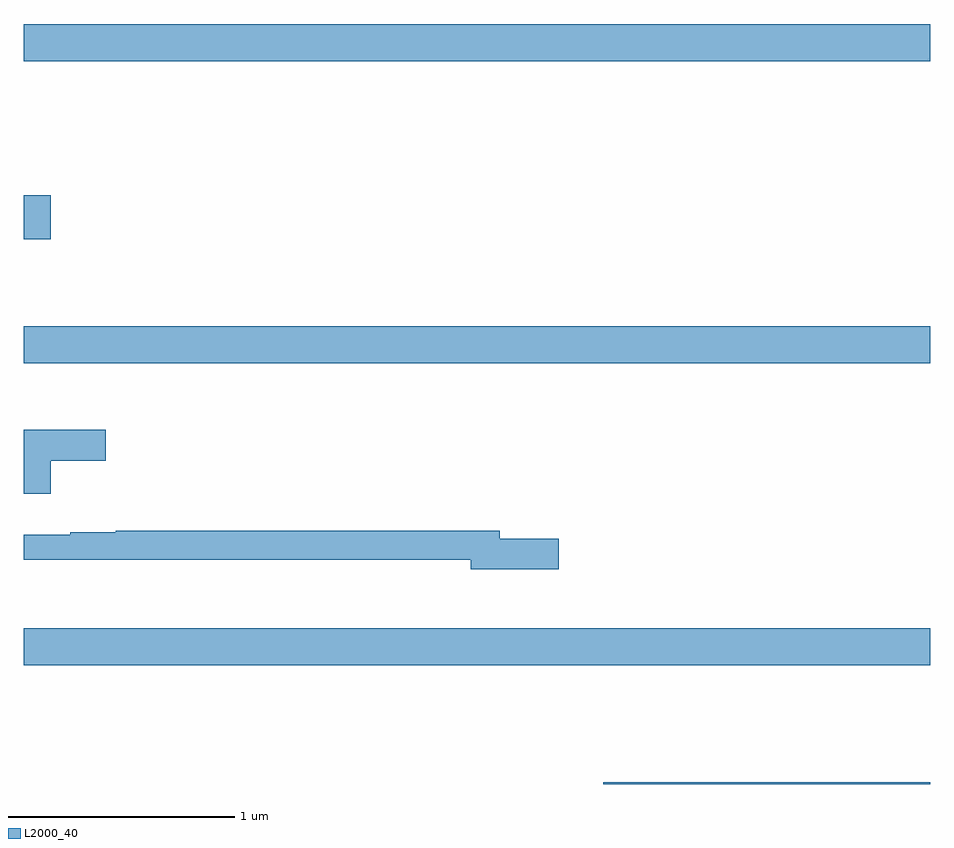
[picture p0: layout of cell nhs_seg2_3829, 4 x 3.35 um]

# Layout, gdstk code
import gdstk
lib = gdstk.Library(unit=1e-6, precision=1e-09)
def R(c, l, rs):  # rectangles x0, y0, x1, y1
    for r in rs: c.add(gdstk.rectangle(r[:2], r[2:], *l))
def A(c, l, x, y, w, h, nx, ny, dx, dy):  # array of equal rectangles
    R(c, l, [(x+i*dx, y+j*dy, x+i*dx+w, y+j*dy+h) for i in range(nx) for j in range(ny)])
def P(c, l, *ps):  # polygons
    for p in ps: c.add(gdstk.Polygon(p, *l))
L2000_40 = (2000, 40)

nhs_seg2_3829 = lib.new_cell('nhs_seg2_3829')
A(nhs_seg2_3829, L2000_40, 313, 626.324, 4, 0.164, 1, 3, 0, 1.332)
R(nhs_seg2_3829, L2000_40, [(315.557,625.8,317,625.808), (313,628.202,313.12,628.396)])
P(nhs_seg2_3829, L2000_40, [(313.12,627.226),(313.363,627.226),(313.363,627.363),(313,627.363),(313,627.08),(313.12,627.08)],
  [(315.361,626.882),(315.1,626.882),(315.1,626.918),(313.406,626.918),(313.406,626.911),(313.206,626.911),(313.206,626.9),(313,626.9),(313,626.79),(314.972,626.79),(314.972,626.747),(315.361,626.747)])

lib.write_gds('nhs_seg2_3829.gds')
